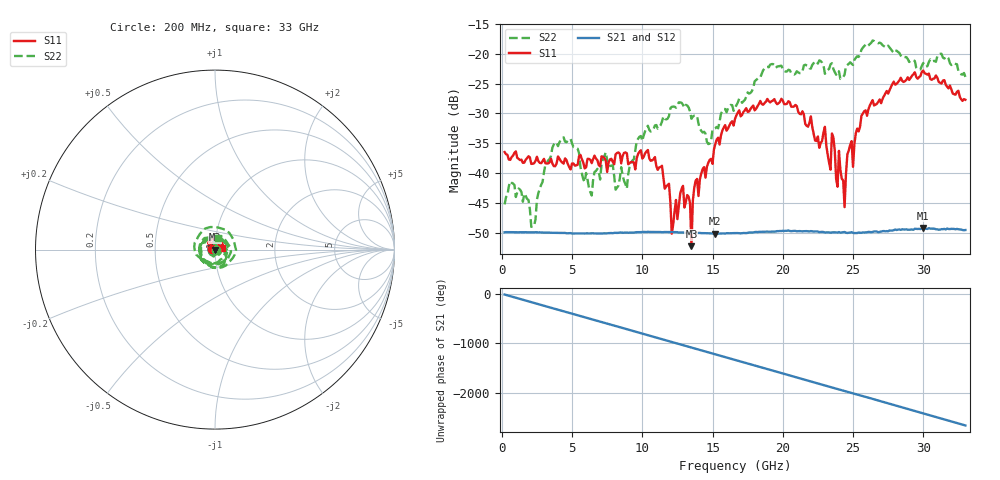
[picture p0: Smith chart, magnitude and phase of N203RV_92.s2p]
# GHZ S RI R 50
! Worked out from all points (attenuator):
!   329 points, 200 MHz to 33 GHz, reference 50 ohm
!   highest |S21| = -49.22 dB at 30 GHz (marker M1); lowest = -50.2 dB at 15.2 GHz (marker M2)
!   lowest |S11| = -52.3 dB at 13.5 GHz (marker M3), VSWR 1.00, Z = 49.8 + j0.00361 ohm
!   |S11| at or under -10 dB: start of sweep to end of sweep
!   |S22| runs from -49.0 to -17.7 dB; largest |S21 - S12| = 7.3e-05
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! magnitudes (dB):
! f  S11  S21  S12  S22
! 200 MHz  -36.5  -50.0  -49.9  -45.3
! 2.3 GHz  -38.4  -50.0  -50.0  -48.8
! 4.4 GHz  -38.4  -50.1  -50.1  -34.0
! 5.7 GHz  -37.7  -50.1  -50.1  -40.1
! 8.9 GHz  -36.7  -50.0  -50.0  -42.6
! 11.2 GHz  -39.1  -49.9  -49.9  -32.3
! 12.1 GHz  -50.2  -49.9  -49.9  -28.9
! 13.3 GHz  -44.0  -50.0  -50.0  -29.0
! 13.5 GHz  -52.3  -50.1  -50.0  -30.9
! 13.8 GHz  -41.3  -50.1  -50.1  -30.4
! 15.2 GHz  -35.1  -50.2  -50.2  -32.5
! 16.6 GHz  -30.9  -50.1  -50.1  -29.1
! 22.1 GHz  -32.3  -49.8  -49.8  -21.8
! 23.4 GHz  -39.5  -50.0  -50.0  -21.7
! 23.5 GHz  -33.4  -50.0  -50.0  -21.6
! 23.9 GHz  -42.3  -50.0  -50.0  -22.8
! 24 GHz  -36.3  -49.9  -49.9  -22.9
! 24.4 GHz  -45.7  -49.9  -49.9  -23.5
! 24.9 GHz  -34.7  -49.9  -50.0  -21.6
! 27.6 GHz  -26.1  -49.7  -49.7  -18.9
! 30 GHz  -22.8  -49.2  -49.3  -21.5
! 33 GHz  -27.7  -49.6  -49.6  -23.9
